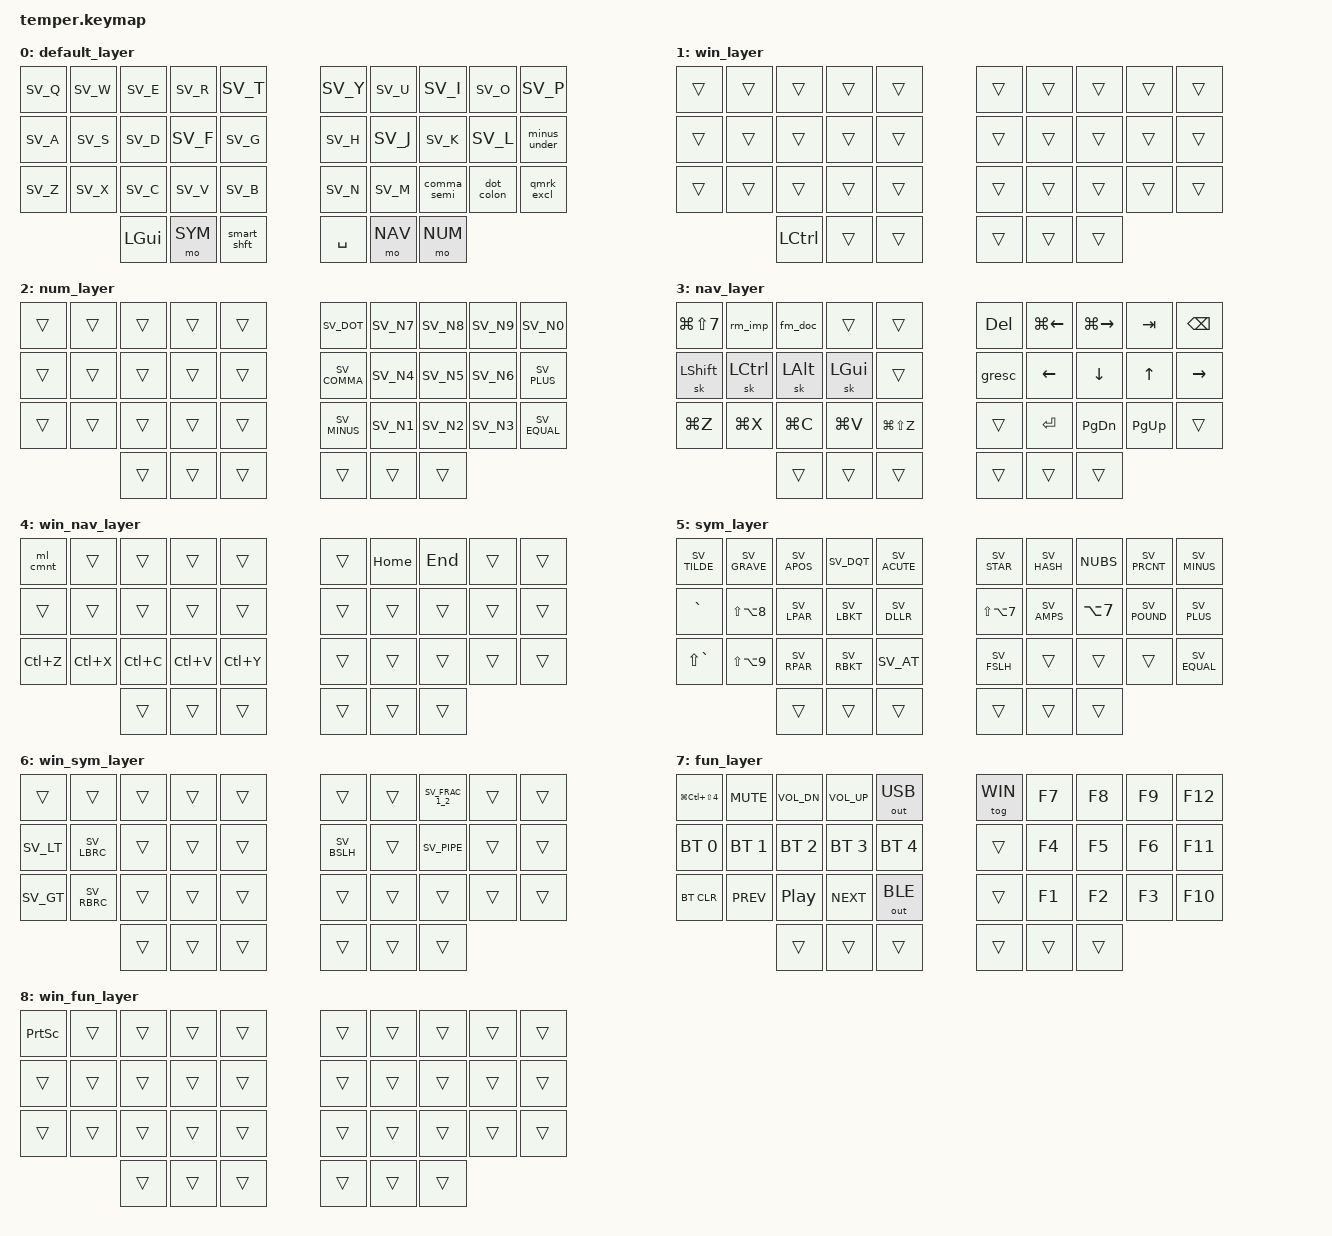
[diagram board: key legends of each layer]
/*
 * Copyright (c) 2020 The ZMK Contributors
 *
 * SPDX-License-Identifier: MIT
 */

#include <behaviors.dtsi>
#include <dt-bindings/zmk/keys.h>
#include <dt-bindings/zmk/bt.h>
#include <dt-bindings/zmk/outputs.h>
#include <locale/keys_sv.h>

// Mac is the default. WIN is toggled from FUN and overlays the Windows-specific
// keys; WIN_NAV / WIN_SYM / WIN_FUN activate automatically together with WIN.
// The toggle is not persisted: after a reset or deep sleep the board is in Mac mode.
#define DEFAULT 0
#define WIN 1
#define NUM 2
#define NAV 3
#define WIN_NAV 4
#define SYM 5
#define WIN_SYM 6
#define FUN 7
#define WIN_FUN 8


# define ______ &trans

/ {
    conditional_layers {
        compatible = "zmk,conditional-layers";
        tri_layer {
            if-layers = <NAV SYM>;
            then-layer = <FUN>;
        };
        win_nav {
            if-layers = <WIN NAV>;
            then-layer = <WIN_NAV>;
        };
        win_sym {
            if-layers = <WIN SYM>;
            then-layer = <WIN_SYM>;
        };
        win_fun {
            if-layers = <WIN FUN>;
            then-layer = <WIN_FUN>;
        };
    };
    behaviors {
        bspc_del: backspace_delete {
            compatible = "zmk,behavior-mod-morph";
            #binding-cells = <0>;
            bindings = <&kp BACKSPACE>, <&kp DELETE>;
            mods = <(MOD_LSFT|MOD_RSFT)>;
            keep-mods = <(MOD_RSFT)>;
        };
        smart_shft: smart_shift {
            compatible = "zmk,behavior-mod-morph";
            #binding-cells = <0>;
            bindings = <&kp LSHFT>, <&caps_word>;
            mods = <(MOD_LSFT)>;
        };
        comma_semi: comma_semi {
            compatible = "zmk,behavior-mod-morph";
            #binding-cells = <0>;
            bindings = <&kp SV_COMMA>, <&kp SV_SEMI>;
            mods = <(MOD_LSFT)>;
        };
        dot_colon: dot_colon {
            compatible = "zmk,behavior-mod-morph";
            #binding-cells = <0>;
            bindings = <&kp SV_DOT>, <&kp SV_COLON>;
            mods = <(MOD_LSFT)>;
        };
        qmrk_excl: qmrk_excl {
            compatible = "zmk,behavior-mod-morph";
            #binding-cells = <0>;
            bindings = <&kp SV_QMARK>, <&kp SV_EXCL>;
            mods = <(MOD_LSFT)>;
        };
        minus_under: minus_under {
            compatible = "zmk,behavior-mod-morph";
            #binding-cells = <0>;
            bindings = <&kp SV_MINUS>, <&kp SV_UNDER>;
            mods = <(MOD_LSFT)>;
        };
    };

        combos {
        compatible = "zmk,combos";

        combo_u_i_to_aring {
            timeout-ms = <50>;
            bindings = <&kp SV_A_RING>;
            key-positions = <6 7>;
            layers = <DEFAULT WIN>;
        };
        combo_j_k_to_aumlaut {
            timeout-ms = <50>;
            bindings = <&kp SV_A_UMLAUT>;
            key-positions = <16 17>;
            layers = <DEFAULT WIN>;
        };
        combo_m_comma_to_oumlaut{
            timeout-ms = <50>;
            bindings = <&kp SV_O_UMLAUT>;
            key-positions = <26 27>;
            layers = <DEFAULT WIN>;
        };
        combo_backspace {
            timeout-ms = <50>;
            bindings = <&bspc_del>;
            key-positions = <12 13>;
            layers = <DEFAULT WIN>;
        };
        combo_enter {
            timeout-ms = <50>;
            bindings = <&kp RET>;
            key-positions = <22 23>;
            layers = <DEFAULT WIN>;
        };
    };

        macros {
        ml_cmnt: ml_cmnt {
            compatible = "zmk,behavior-macro";
            #binding-cells = <0>;
            bindings
                = <&macro_press &kp LCTRL>
                , <&macro_tap &kp SV_APOS>
                , <&macro_release &kp LCTRL>
                ;
        };
        rm_imp: rm_imp {
            compatible = "zmk,behavior-macro";
            #binding-cells = <0>;
            bindings
                = <&macro_press &kp LALT &kp LSHFT>
                , <&macro_tap &kp SV_O>
                , <&macro_release &kp LALT &kp LSHFT>
                ;
        };
        fm_doc: fm_doc {
            compatible = "zmk,behavior-macro";
            #binding-cells = <0>;
            bindings
                = <&macro_press &kp LSHFT &kp LALT>
                , <&macro_tap &kp SV_F>
                , <&macro_release &kp LSHFT &kp LALT>
                ;
        };
    };

        keymap {
                compatible = "zmk,keymap";

                default_layer {
                        bindings = <
// ╭─────────────┬─────────────┬─────────────┬─────────────┬─────────────╮   ╭─────────────┬─────────────┬─────────────┬─────────────┬─────────────╮
       &kp SV_Q     &kp SV_W      &kp SV_E      &kp SV_R      &kp SV_T          &kp SV_Y       &kp SV_U     &kp SV_I      &kp SV_O      &kp SV_P   
// ├─────────────┼─────────────┼─────────────┼─────────────┼─────────────┤   ├─────────────┼─────────────┼─────────────┼─────────────┼─────────────┤
       &kp SV_A     &kp SV_S      &kp SV_D      &kp SV_F      &kp SV_G          &kp SV_H       &kp SV_J     &kp SV_K      &kp SV_L     &minus_under
// ├─────────────┼─────────────┼─────────────┼─────────────┼─────────────┤   ├─────────────┼─────────────┼─────────────┼─────────────┼─────────────┤
       &kp SV_Z     &kp SV_X      &kp SV_C      &kp SV_V      &kp SV_B          &kp SV_N       &kp SV_M     &comma_semi   &dot_colon    &qmrk_excl
// ╰─────────────┴─────────────┼─────────────┼─────────────┼─────────────┤   ├─────────────┼─────────────┼─────────────┼─────────────┴─────────────╯
                                  &kp LGUI       &mo SYM     &smart_shft        &kp SPACE      &mo NAV      &mo NUM
//                             ╰─────────────┴─────────────┴─────────────╯   ╰─────────────┴─────────────┴─────────────╯
                        >;
                };

                win_layer {
                        bindings = <
// ╭─────────────┬─────────────┬─────────────┬─────────────┬─────────────╮   ╭─────────────┬─────────────┬─────────────┬─────────────┬─────────────╮
        ______        ______        ______        ______        ______            ______        ______        ______        ______        ______
// ├─────────────┼─────────────┼─────────────┼─────────────┼─────────────┤   ├─────────────┼─────────────┼─────────────┼─────────────┼─────────────┤
        ______        ______        ______        ______        ______            ______        ______        ______        ______        ______
// ├─────────────┼─────────────┼─────────────┼─────────────┼─────────────┤   ├─────────────┼─────────────┼─────────────┼─────────────┼─────────────┤
        ______        ______        ______        ______        ______            ______        ______        ______        ______        ______
// ╰─────────────┴─────────────┼─────────────┼─────────────┼─────────────┤   ├─────────────┼─────────────┼─────────────┼─────────────┴─────────────╯
                                  &kp LCTRL       ______        ______            ______        ______        ______
//                             ╰─────────────┴─────────────┴─────────────╯   ╰─────────────┴─────────────┴─────────────╯
                        >;
                };

                num_layer {
                        bindings = <
// ╭─────────────┬─────────────┬─────────────┬─────────────┬─────────────╮   ╭─────────────┬─────────────┬─────────────┬─────────────┬─────────────╮
        ______        ______        ______        ______        ______          &kp SV_DOT     &kp SV_N7     &kp SV_N8     &kp SV_N9     &kp SV_N0
// ├─────────────┼─────────────┼─────────────┼─────────────┼─────────────┤   ├─────────────┼─────────────┼─────────────┼─────────────┼─────────────┤
        ______        ______        ______        ______        ______          &kp SV_COMMA   &kp SV_N4     &kp SV_N5     &kp SV_N6    &kp SV_PLUS
// ├─────────────┼─────────────┼─────────────┼─────────────┼─────────────┤   ├─────────────┼─────────────┼─────────────┼─────────────┼─────────────┤
        ______        ______        ______        ______        ______          &kp SV_MINUS   &kp SV_N1     &kp SV_N2     &kp SV_N3    &kp SV_EQUAL
// ╰─────────────┴─────────────┼─────────────┼─────────────┼─────────────┤   ├─────────────┼─────────────┼─────────────┼─────────────┴─────────────╯
                                    ______        ______        ______            ______        ______        ______
//                             ╰─────────────┴─────────────┴─────────────╯   ╰─────────────┴─────────────┴─────────────╯
                        >;
                };

                nav_layer {
                        bindings = <
// ╭─────────────┬─────────────┬─────────────┬─────────────┬─────────────╮   ╭─────────────┬─────────────┬─────────────┬─────────────┬─────────────╮
    &kp LG(LS(N7))   &rm_imp       &fm_doc        ______        ______           &kp DEL     &kp LG(LEFT)  &kp LG(RIGHT)   &kp TAB       &kp BSPC
// ├─────────────┼─────────────┼─────────────┼─────────────┼─────────────┤   ├─────────────┼─────────────┼─────────────┼─────────────┼─────────────┤
      &sk LSHFT     &sk LCTRL      &sk LALT      &sk LGUI       ______           &gresc        &kp LEFT       &kp DOWN      &kp UP       &kp RIGHT
// ├─────────────┼─────────────┼─────────────┼─────────────┼─────────────┤   ├─────────────┼─────────────┼─────────────┼─────────────┼─────────────┤
      &kp LG(Z)     &kp LG(X)     &kp LG(C)     &kp LG(V)   &kp LG(LS(Z))       ______       &kp RET       &kp PG_DN     &kp PG_UP      ______
// ╰─────────────┴─────────────┼─────────────┼─────────────┼─────────────┤   ├─────────────┼─────────────┼─────────────┼─────────────┴─────────────╯
                                    ______        ______        ______            ______        ______        ______
//                             ╰─────────────┴─────────────┴─────────────╯   ╰─────────────┴─────────────┴─────────────╯
                        >;
                };

                win_nav_layer {
                        bindings = <
// ╭─────────────┬─────────────┬─────────────┬─────────────┬─────────────╮   ╭─────────────┬─────────────┬─────────────┬─────────────┬─────────────╮
       &ml_cmnt       ______        ______        ______        ______            ______       &kp HOME      &kp END        ______        ______
// ├─────────────┼─────────────┼─────────────┼─────────────┼─────────────┤   ├─────────────┼─────────────┼─────────────┼─────────────┼─────────────┤
        ______        ______        ______        ______        ______            ______        ______        ______        ______        ______
// ├─────────────┼─────────────┼─────────────┼─────────────┼─────────────┤   ├─────────────┼─────────────┼─────────────┼─────────────┼─────────────┤
      &kp LC(Z)     &kp LC(X)     &kp LC(C)     &kp LC(V)     &kp LC(Y)         ______        ______        ______        ______        ______
// ╰─────────────┴─────────────┼─────────────┼─────────────┼─────────────┤   ├─────────────┼─────────────┼─────────────┼─────────────┴─────────────╯
                                    ______        ______        ______            ______        ______        ______
//                             ╰─────────────┴─────────────┴─────────────╯   ╰─────────────┴─────────────┴─────────────╯
                        >;
                };

                sym_layer {
                        bindings = <
// ╭─────────────┬─────────────┬─────────────┬─────────────┬─────────────╮   ╭─────────────┬─────────────┬─────────────┬─────────────┬─────────────╮
// Mac Swedish layout: { } = ⇧⌥8/9, | = ⌥7, \ = ⇧⌥7. macOS (keyboard type ANSI) puts
// < > on HID 0x35 and § ° on HID 0x64, the reverse of Windows.
     &kp SV_TILDE  &kp SV_GRAVE  &kp SV_APOS   &kp SV_DQT    &kp SV_ACUTE      &kp SV_STAR    &kp SV_HASH  &kp NUBS    &kp SV_PRCNT  &kp SV_MINUS
// ├─────────────┼─────────────┼─────────────┼─────────────┼─────────────┤   ├─────────────┼─────────────┼─────────────┼─────────────┼─────────────┤
      &kp GRAVE  &kp LS(LA(N8))  &kp SV_LPAR   &kp SV_LBKT   &kp SV_DLLR    &kp LS(LA(N7))  &kp SV_AMPS   &kp LA(N7)    &kp SV_POUND  &kp SV_PLUS
// ├─────────────┼─────────────┼─────────────┼─────────────┼─────────────┤   ├─────────────┼─────────────┼─────────────┼─────────────┼─────────────┤
    &kp LS(GRAVE) &kp LS(LA(N9))  &kp SV_RPAR   &kp SV_RBKT    &kp SV_AT        &kp SV_FSLH      ______        ______        ______     &kp SV_EQUAL
// ╰─────────────┴─────────────┼─────────────┼─────────────┼─────────────┤   ├─────────────┼─────────────┼─────────────┼─────────────┴─────────────╯
                                    ______        ______        ______            ______        ______        ______
//                             ╰─────────────┴─────────────┴─────────────╯   ╰─────────────┴─────────────┴─────────────╯
                        >;
                };

                win_sym_layer {
                        bindings = <
// ╭─────────────┬─────────────┬─────────────┬─────────────┬─────────────╮   ╭─────────────┬─────────────┬─────────────┬─────────────┬─────────────╮
        ______        ______        ______        ______        ______            ______        ______    &kp SV_FRAC_1_2   ______        ______
// ├─────────────┼─────────────┼─────────────┼─────────────┼─────────────┤   ├─────────────┼─────────────┼─────────────┼─────────────┼─────────────┤
      &kp SV_LT    &kp SV_LBRC      ______        ______        ______         &kp SV_BSLH      ______     &kp SV_PIPE      ______        ______
// ├─────────────┼─────────────┼─────────────┼─────────────┼─────────────┤   ├─────────────┼─────────────┼─────────────┼─────────────┼─────────────┤
      &kp SV_GT    &kp SV_RBRC      ______        ______        ______            ______        ______        ______        ______        ______
// ╰─────────────┴─────────────┼─────────────┼─────────────┼─────────────┤   ├─────────────┼─────────────┼─────────────┼─────────────┴─────────────╯
                                    ______        ______        ______            ______        ______        ______
//                             ╰─────────────┴─────────────┴─────────────╯   ╰─────────────┴─────────────┴─────────────╯
                        >;
                };

                fun_layer {
                        bindings = <
// ╭─────────────┬─────────────┬─────────────┬─────────────┬─────────────╮   ╭─────────────┬─────────────┬─────────────┬─────────────┬─────────────╮
     &kp LG(LC(LS(N4))) &kp C_MUTE    &kp C_VOL_DN  &kp C_VOL_UP  &out OUT_USB       &tog WIN       &kp F7        &kp F8        &kp F9       &kp F12
// ├─────────────┼─────────────┼─────────────┼─────────────┼─────────────┤   ├─────────────┼─────────────┼─────────────┼─────────────┼─────────────┤
     &bt BT_SEL 0  &bt BT_SEL 1  &bt BT_SEL 2  &bt BT_SEL 3  &bt BT_SEL 4         ______        &kp F4        &kp F5        &kp F6       &kp F11
// ├─────────────┼─────────────┼─────────────┼─────────────┼─────────────┤   ├─────────────┼─────────────┼─────────────┼─────────────┼─────────────┤
      &bt BT_CLR    &kp C_PREV     &kp C_PP     &kp C_NEXT   &out OUT_BLE         ______        &kp F1        &kp F2        &kp F3       &kp F10
// ╰─────────────┴─────────────┼─────────────┼─────────────┼─────────────┤   ├─────────────┼─────────────┼─────────────┼─────────────┴─────────────╯
                                    ______        ______        ______            ______        ______        ______
//                             ╰─────────────┴─────────────┴─────────────╯   ╰─────────────┴─────────────┴─────────────╯
                        >;
                };

                win_fun_layer {
                        bindings = <
// ╭─────────────┬─────────────┬─────────────┬─────────────┬─────────────╮   ╭─────────────┬─────────────┬─────────────┬─────────────┬─────────────╮
      &kp PSCRN       ______        ______        ______        ______            ______        ______        ______        ______        ______
// ├─────────────┼─────────────┼─────────────┼─────────────┼─────────────┤   ├─────────────┼─────────────┼─────────────┼─────────────┼─────────────┤
        ______        ______        ______        ______        ______            ______        ______        ______        ______        ______
// ├─────────────┼─────────────┼─────────────┼─────────────┼─────────────┤   ├─────────────┼─────────────┼─────────────┼─────────────┼─────────────┤
        ______        ______        ______        ______        ______            ______        ______        ______        ______        ______
// ╰─────────────┴─────────────┼─────────────┼─────────────┼─────────────┤   ├─────────────┼─────────────┼─────────────┼─────────────┴─────────────╯
                                    ______        ______        ______            ______        ______        ______
//                             ╰─────────────┴─────────────┴─────────────╯   ╰─────────────┴─────────────┴─────────────╯
                        >;
                };
        };
};
